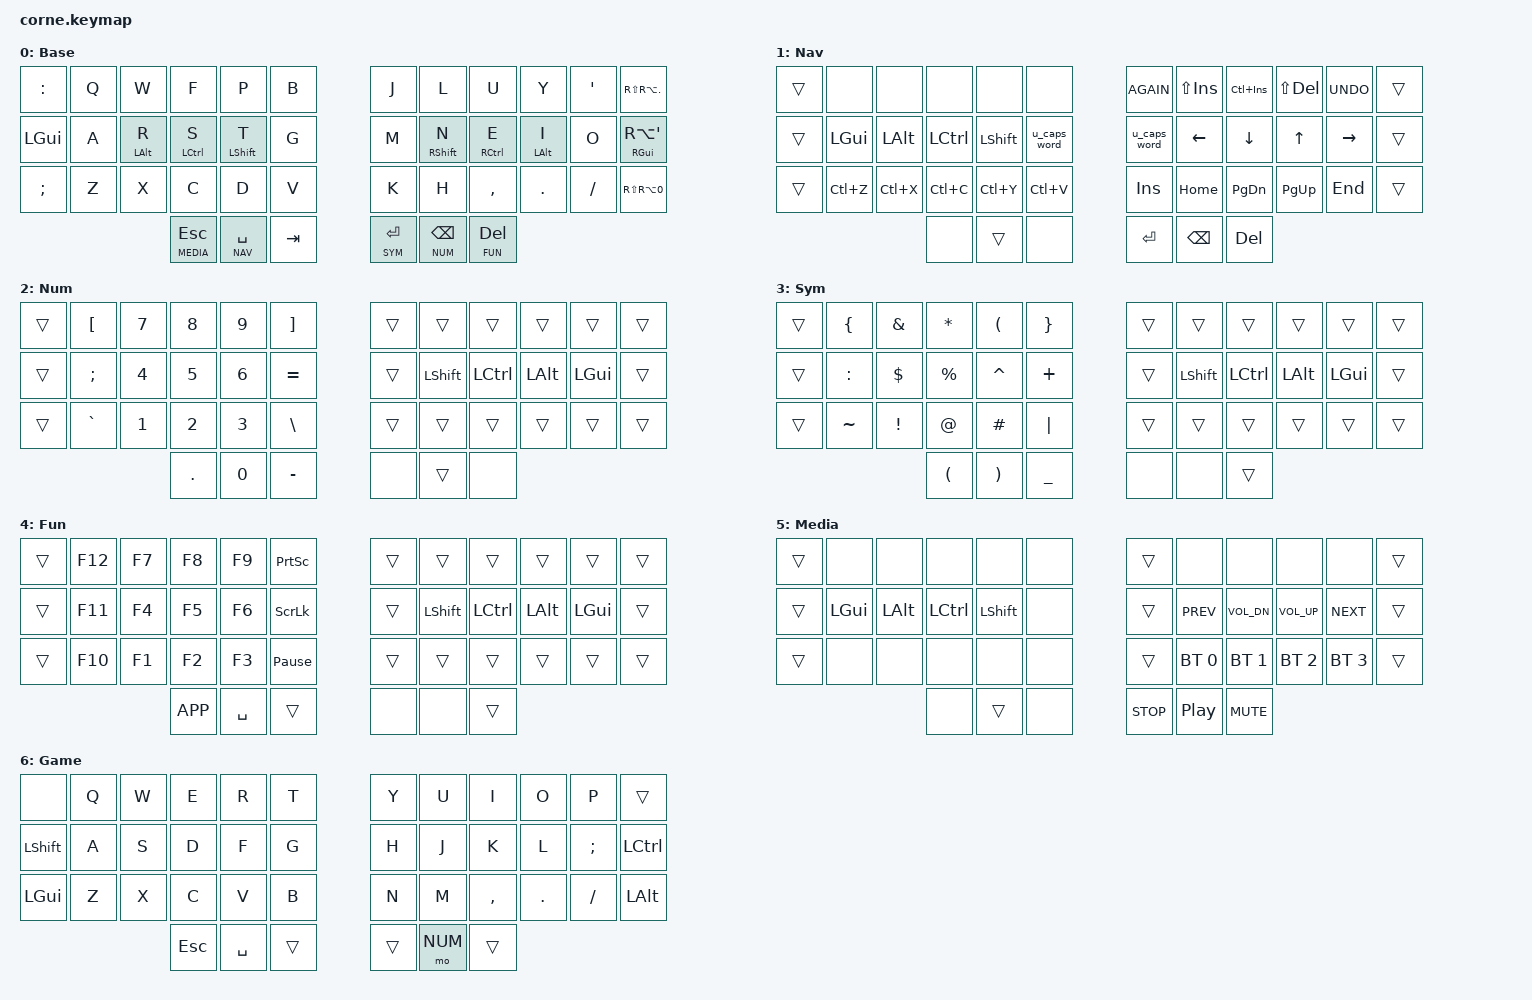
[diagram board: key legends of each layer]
/*
 * Copyright (c) 2020 The ZMK Contributors
 *
 * SPDX-License-Identifier: MIT
 */

#include <behaviors.dtsi>
#include <dt-bindings/zmk/keys.h>
#include <dt-bindings/zmk/bt.h>

#define BASE 0
#define NAV  1
#define NUM  2
#define SYM  3
#define FUN  4
#define MEDIA 5
#define GAME 6

#define TAPPING_TERM 200
#define Q_TAPPING_TERM 200
#define IDLE_MS 150

/*
 * 42-key order: left rows 0-5 / 12-17 / 24-29, right rows 6-11 / 18-23 / 30-35,
 * thumbs 36-38 (left), 39-41 (right).
 * Base is Colemak-DH, sent as-is (assumes the OS is set to QWERTY).
 *
 * Miryoku-style layering: Nav is right-hand content held with the left thumb;
 * Num/Sym/Fun are left-hand content held with the right thumb (Bspc/Enter/Del).
 * This keeps the holding hand's thumb and the typing hand's fingers separate,
 * and matches the Miryoku 36-key layout used on the work Chocofi.
 */

/ {
    behaviors {
        hml: hml {  // left-hand home row mods
            compatible = "zmk,behavior-hold-tap";
            #binding-cells = <2>;
            flavor = "tap-preferred";
            tapping-term-ms = <TAPPING_TERM>;
            quick-tap-ms = <Q_TAPPING_TERM>;
            //require-prior-idle-ms = <IDLE_MS>;
            bindings = <&kp>, <&kp>;
            hold-trigger-key-positions = <6 7 8 9 10 11 18 19 20 21 22 23 30 31 32 33 34 35 39 40 41>;
            hold-trigger-on-release;
        };
        hmr: hmr {  // right-hand home row mods
            compatible = "zmk,behavior-hold-tap";
            #binding-cells = <2>;
            flavor = "tap-preferred";
            tapping-term-ms = <TAPPING_TERM>;
            quick-tap-ms = <Q_TAPPING_TERM>;
            //require-prior-idle-ms = <IDLE_MS>;
            bindings = <&kp>, <&kp>;
            hold-trigger-key-positions = <0 1 2 3 4 5 12 13 14 15 16 17 24 25 26 27 28 29 36 37 38>;
            hold-trigger-on-release;
        };
        u_caps_word: u_caps_word {
            compatible = "zmk,behavior-mod-morph";
            #binding-cells = <0>;
            bindings = <&caps_word>, <&kp CAPS>;
            mods = <(MOD_LSFT|MOD_RSFT)>;
        };
    };

    combos {
        compatible = "zmk,combos";
        // Opens on the left hand (outer column + adjacent letter), closes on the right
        // (mirrored). Chosen so the chord never lands entirely on one hand's fingers.
        combo_lbrc { timeout-ms = <30>; require-prior-idle-ms = <100>; layers = <BASE>; key-positions = <0 1>;   bindings = <&kp LBRC>; };  // Colon+Q
        combo_lpar { timeout-ms = <30>; require-prior-idle-ms = <100>; layers = <BASE>; key-positions = <12 13>; bindings = <&kp LPAR>; };  // GUI+A
        combo_lbkt { timeout-ms = <30>; require-prior-idle-ms = <100>; layers = <BASE>; key-positions = <24 25>; bindings = <&kp LBKT>; };  // Semi+Z
        combo_rbrc { timeout-ms = <30>; require-prior-idle-ms = <100>; layers = <BASE>; key-positions = <10 11>; bindings = <&kp RBRC>; };  // '+Ring
        combo_rpar { timeout-ms = <30>; require-prior-idle-ms = <100>; layers = <BASE>; key-positions = <22 23>; bindings = <&kp RPAR>; };  // O+Acute
        combo_rbkt { timeout-ms = <30>; require-prior-idle-ms = <100>; layers = <BASE>; key-positions = <34 35>; bindings = <&kp RBKT>; };  // //+Caron
        // Deliberately awkward two-handed chord so it's never hit by accident. Listed on
        // both BASE and GAME since ZMK combos only match the single highest active layer,
        // and this one needs to fire both to enter and to leave Game. Uses Colon+Ring
        // specifically (not a thumb key) because combo-member keys get captured/deferred
        // by ZMK's combo logic, which breaks reliable sustained holds in games (e.g. Tab
        // held to keep a menu open) - neither Colon nor Ring needs that kind of timing.
        combo_game { timeout-ms = <50>; require-prior-idle-ms = <150>; layers = <BASE GAME>; key-positions = <0 11>; bindings = <&tog GAME>; };  // Colon+Ring
    };

    keymap {
        compatible = "zmk,keymap";

        base_layer {
            // -----------------------------------------------------------------------------
            // | COLN |  Q   |  W   |  F   |  P   |  B   |   |  J   |  L   |  U   |  Y   |  '   | CARN     |
            // | GUI  |  A   | R/AL | S/CT |  T   |  G   |   |  M   |  N   | E/CT | I/AL |  O   | ACUT/GUI |
            // | SEMI |  Z   |  X   |  C   |  D   |  V   |   |  K   |  H   |  ,   |  .   |  /   | RING     |
            //                      | ESC  | SPC  | TAB  |   | ENT  | BSP  | DEL  |
            //                      | MEDIA| NAV  |      |   | SYM  | NUM  | FUN  |
            // Combos (base only): Colon+Q {   GUI+A (   Semi+Z [   '+Ring }   O+Acute )   //+Caron ]
            // Colon+Ring (also) toggles the Game layer.
            // ' replaces ; on the home block (canonical Miryoku); bare ; and : now live on
            // the left outer column instead of Alt/Shift, which remain on the homerow mods.
            // ACUT (right outer, middle row) is a mod-tap mirroring GUI on the left outer
            // column: tap for Acute, hold for RGUI.
            display-name = "Base";
            bindings = <
            &kp COLON &kp Q  &kp W        &kp F         &kp P          &kp B         &kp J        &kp L         &kp U          &kp Y        &kp SQT   &kp RS(RA(DOT))
            &kp LGUI  &kp A  &hml LALT R  &hml LCTRL S  &hml LSHFT T   &kp G         &kp M        &hmr RSHFT N  &hmr RCTRL E   &hmr LALT I  &kp O     &mt RGUI RA(SQT)
            &kp SEMI  &kp Z  &kp X        &kp C         &kp D          &kp V         &kp K        &kp H         &kp COMMA      &kp DOT      &kp FSLH  &kp RS(RA(N0))
                                          &lt MEDIA ESC &lt NAV SPACE  &kp TAB       &lt SYM RET  &lt NUM BSPC  &lt FUN DEL
            >;
        };

        nav_layer {  // held with left thumb; right thumb taps are plain Ret/Bspc/Del
            // -----------------------------------------------------------------------------
            // | ____ |      |      |      |      |      |   | RDO  | PST  | CPY  | CUT  | UND  | ____ |
            // | ____ | GUI  | ALT  | CTRL | SHFT |      |   | CAPS | LEFT | DOWN |  UP  | RGHT | ____ |
            // | ____ |  ^Z  |  ^X  |  ^C  |  ^Y  |  ^V  |   | INS  | HOME | PGDN | PGUP | END  | ____ |
            //                      | ____ | ____ | ____ |   | ENT  | BSP  | DEL  |
            // Left hand unchanged (^Z undo, ^X cut, ^C copy, ^Y redo, ^V paste). Right hand
            // now matches canonical Miryoku Nav exactly: word-jump is Ctrl(left)+Arrow(right)
            // chorded through the thumb hold rather than a dedicated key.
            display-name = "Nav";
            bindings = <
            &trans &none      &none      &none       &none       &none        &kp K_AGAIN  &kp LS(INS)  &kp LC(INS)  &kp LS(DEL)  &kp K_UNDO &trans
            &trans &kp LGUI   &kp LALT   &kp LCTRL   &kp LSHFT   &u_caps_word  &u_caps_word &kp LEFT     &kp DOWN     &kp UP       &kp RIGHT  &trans
            &trans &kp LC(Z)  &kp LC(X)  &kp LC(C)   &kp LC(Y)   &kp LC(V)     &kp INS      &kp HOME     &kp PG_DN    &kp PG_UP    &kp END    &trans
                                         &none       &trans      &none        &kp RET      &kp BSPC     &kp DEL
            >;
        };

        num_layer {  // held with right thumb (Bspc); numerals on the left hand, Miryoku-style
            // -----------------------------------------------------------------------------
            // | ____ |  [   |  7   |  8   |  9   |  ]   |   | ____ | SHFT | CTRL | ALT  | GUI  | ____ |
            // | ____ |  ;   |  4   |  5   |  6   |  =   |   | ____ | SHFT | CTRL | ALT  | GUI  | ____ |
            // | ____ |  `   |  1   |  2   |  3   |  \   |   | ____ | ____ | ____ | ____ | ____ | ____ |
            //                      |  .   |  0   |  -   |   | ____ | ____ | ____ |
            display-name = "Num";
            bindings = <
            &trans &kp LBKT  &kp N7  &kp N8  &kp N9  &kp RBKT  &trans  &trans    &trans    &trans    &trans    &trans
            &trans &kp SEMI  &kp N4  &kp N5  &kp N6  &kp EQUAL &trans  &kp LSHFT &kp LCTRL &kp LALT  &kp LGUI  &trans
            &trans &kp GRAVE &kp N1  &kp N2  &kp N3  &kp BSLH  &trans  &trans    &trans    &trans    &trans    &trans
                                     &kp DOT &kp N0   &kp MINUS &none  &trans    &none
            >;
        };

        sym_layer {  // held with right thumb (Enter); canonical Miryoku Sym, left hand
            // -----------------------------------------------------------------------------
            // | ____ |  {   |  &   |  *   |  (   |  }   |   | ____ | SHFT | CTRL | ALT  | GUI  | ____ |
            // | ____ |  :   |  $   |  %   |  ^   |  +   |   | ____ | SHFT | CTRL | ALT  | GUI  | ____ |
            // | ____ |  ~   |  !   |  @   |  #   |  |   |   | ____ | ____ | ____ | ____ | ____ | ____ |
            //                      |  (   |  )   |  _   |   | ____ | ____ | ____ |
            // Matches the Miryoku Sym layer verbatim, including the duplicated ( next to ).
            // Bracket/paren/brace combos live on the base layer; not remapped here yet.
            display-name = "Sym";
            bindings = <
            &trans &kp LBRC  &kp AMPS &kp STAR  &kp LPAR  &kp RBRC  &trans  &trans    &trans    &trans    &trans    &trans
            &trans &kp COLON &kp DLLR &kp PRCNT &kp CARET &kp PLUS  &trans  &kp LSHFT &kp LCTRL &kp LALT  &kp LGUI  &trans
            &trans &kp TILDE &kp EXCL &kp AT    &kp HASH  &kp PIPE  &trans  &trans    &trans    &trans    &trans    &trans
                                      &kp LPAR  &kp RPAR  &kp UNDER &none   &none     &trans
            >;
        };

        fun_layer {  // held with right thumb (Del); F-keys on the left hand, Miryoku-style
            // -----------------------------------------------------------------------------
            // | ____ | F12  |  F7  |  F8  |  F9  | PSCR |   | ____ | ____ | ____ | ____ | ____ | ____ |
            // | ____ | F11  |  F4  |  F5  |  F6  | SLCK |   | ____ | SHFT | CTRL | ALT  | GUI  | ____ |
            // | ____ | F10  |  F1  |  F2  |  F3  | PAUS |   | ____ | ____ | ____ | ____ | ____ | ____ |
            //                      | APP  | SPC  | TAB  |   | ____ | ____ | ____ |
            display-name = "Fun";
            bindings = <
            &trans &kp F12   &kp F7  &kp F8  &kp F9  &kp PSCRN       &trans &trans &trans &trans &trans    &trans
            &trans &kp F11   &kp F4  &kp F5  &kp F6  &kp SLCK        &trans &kp LSHFT    &kp LCTRL    &kp LALT   &kp LGUI  &trans
            &trans &kp F10   &kp F1  &kp F2  &kp F3  &kp PAUSE_BREAK &trans &trans       &trans       &trans     &trans    &trans
                                     &kp K_APP &kp SPACE &trans      &none  &none        &trans
            >;
        };

        media_layer {  // held with left thumb (Esc); right-hand content, Miryoku-style
            // -----------------------------------------------------------------------------
            // | ____ |      |      |      |      |      |   | ____ |      |      |      |      | ____ |
            // | ____ | GUI  | ALT  | CTRL | SHFT  |      |   | ____ | PREV | VOL- | VOL+ | NEXT | ____ |
            // | ____ |      |      |      |       |      |   | ____ | BT0  | BT1  | BT2  | BT3  | ____ |
            //                      | ____ | ____  | ____ |   | STOP | PLAY | MUTE |
            // BT0-BT3 select Bluetooth profile 0-3.
            display-name = "Media";
            bindings = <
            &trans &none      &none      &none       &none      &none  &trans &none        &none        &none        &none        &trans
            &trans &kp LGUI   &kp LALT   &kp LCTRL   &kp LSHFT  &none  &trans &kp C_PREV   &kp C_VOL_DN &kp C_VOL_UP &kp C_NEXT   &trans
            &trans &none      &none      &none       &none      &none  &trans &bt BT_SEL 0 &bt BT_SEL 1 &bt BT_SEL 2 &bt BT_SEL 3 &trans
                                         &none       &trans     &none  &kp C_STOP &kp C_PP &kp C_MUTE
            >;
        };

        game_layer {  // toggled with Colon+Ring combo; plain QWERTY, no homerow mods
            // -----------------------------------------------------------------------------
            // | ____ |  Q   |  W   |  E   |  R   |  T   |   |  Y   |  U   |  I   |  O   |  P   | RING |
            // | SHFT |  A   |  S   |  D   |  F   |  G   |   |  H   |  J   |  K   |  L   |  ;   | CTRL |
            // | GUI  |  Z   |  X   |  C   |  V   |  B   |   |  N   |  M   |  ,   |  .   |  /   | ALT  |
            //                      | ESC  | SPC  | TAB  |   | ENT  | NUM  | DEL  |
            // Plain QWERTY alphas, no homerow mods (holding a key never changes its output).
            // Shift/Ctrl/GUI/Alt are plain taps on the outer column, not mod-taps, for
            // reliable holding. Top-left (Colon on Base) stays disabled since nothing's
            // assigned there; top-right falls through to Ring since the Game-toggle combo
            // needs that key, and there's no harm in leaving it live.
            //
            // Esc and Space are plain taps here, not Base's hold-taps (&lt MEDIA ESC,
            // &lt NAV SPACE) - ZMK hold-taps send their tap as an instant press+release
            // with no gap between them, which games polling key state can simply miss
            // (see zmk#3475). Media and Nav are both unreachable while gaming as a
            // result, which should be no loss mid-match.
            //
            // Num is &mo (momentary, no tap action at all) instead of Base's &lt NUM BSPC,
            // so holding it to reach hotbar numbers is as reliable as holding Shift/Ctrl -
            // &lt's tap/hold resolution is exactly the kind of timing ZMK can't guarantee
            // games will see. Trade-off: quick-tap Backspace is gone while gaming only.
            // Sym/Fun still pass through to Base's hold-taps and have the same caveat;
            // say if you want the same &mo treatment applied to either of them.
            display-name = "Game";
            bindings = <
            &none     &kp Q  &kp W  &kp E  &kp R  &kp T  &kp Y  &kp U  &kp I    &kp O    &kp P     &trans
            &kp LSHFT &kp A  &kp S  &kp D  &kp F  &kp G  &kp H  &kp J  &kp K    &kp L    &kp SEMI  &kp LCTRL
            &kp LGUI  &kp Z  &kp X  &kp C  &kp V  &kp B  &kp N  &kp M  &kp COMMA &kp DOT &kp FSLH  &kp LALT
                             &kp ESC &kp SPACE &trans &trans &mo NUM &trans
            >;
        };
    };
};
